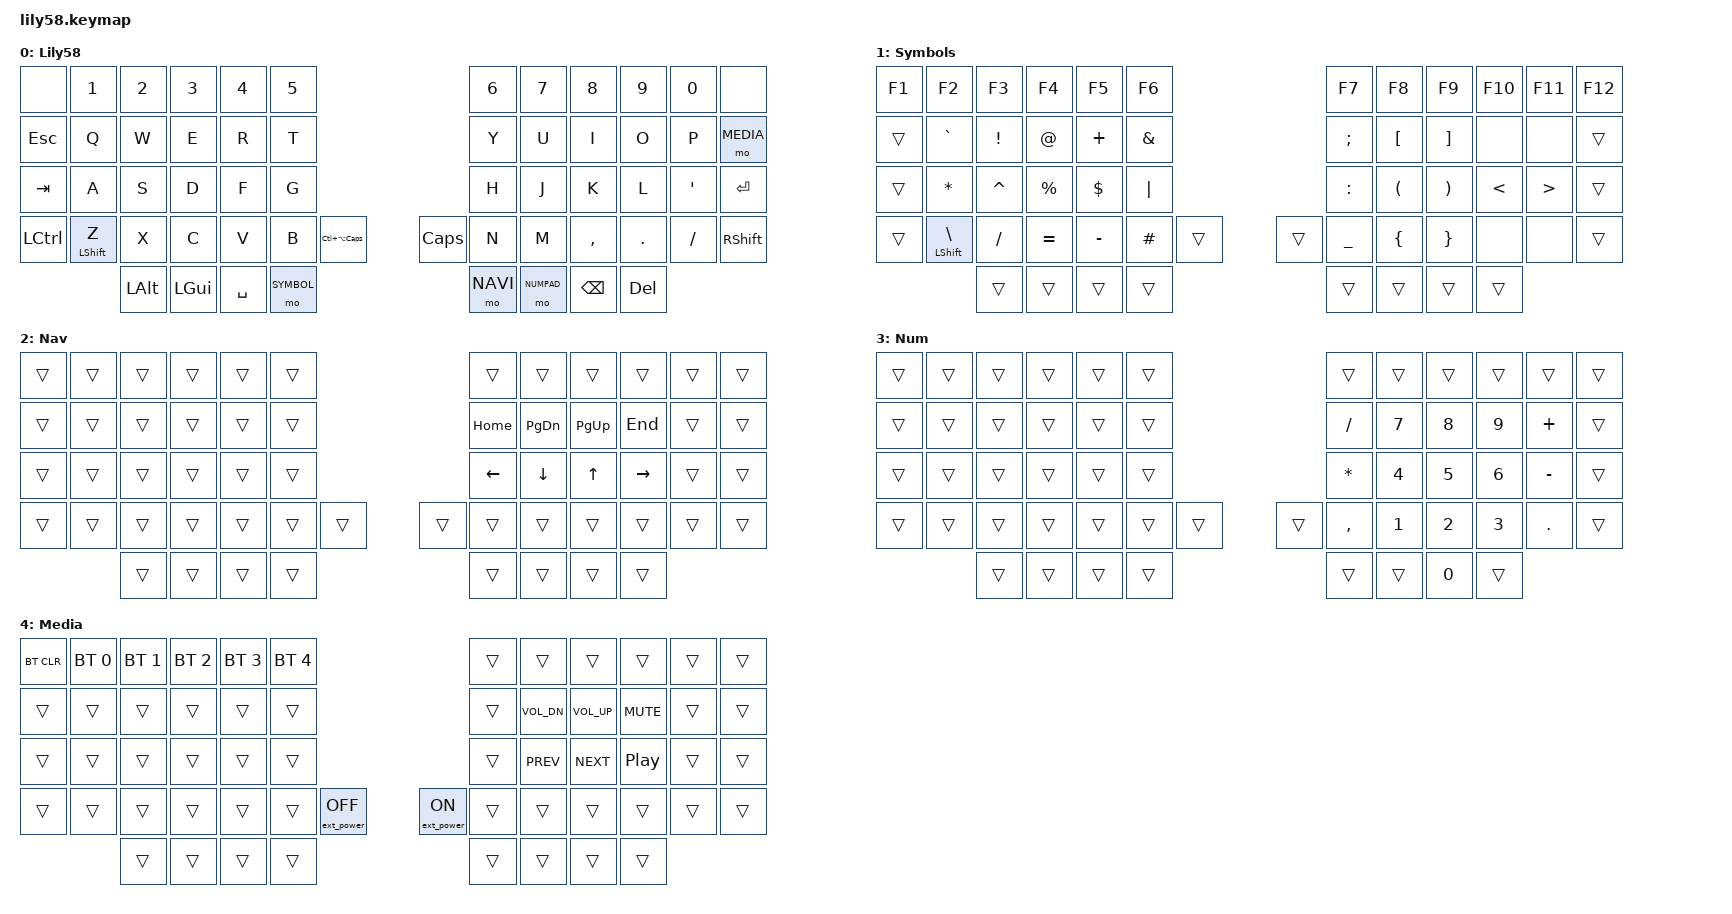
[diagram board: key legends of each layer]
/*
 * Copyright (c) 2020 The ZMK Contributors
 *
 * SPDX-License-Identifier: MIT
 */

#include <behaviors.dtsi>
#include <dt-bindings/zmk/keys.h>
#include <dt-bindings/zmk/bt.h>
#include <dt-bindings/zmk/ext_power.h>

#define DEFAULT 0
#define NAVI    2
#define SYMBOL  1
#define NUMPAD  3
#define MEDIA   4

/ {
        keymap {
                compatible = "zmk,keymap";

                default_layer {
                        display-name = "Lily58";
                        bindings = <
   &none     &kp N1       &kp N2   &kp N3    &kp N4    &kp N5                                      &kp N6   &kp N7     &kp N8    &kp N9    &kp N0    &none
   &kp ESC   &kp Q        &kp W    &kp E     &kp R     &kp T                                       &kp Y    &kp U      &kp I     &kp O     &kp P     &mo MEDIA
   &kp TAB   &kp A        &kp S    &kp D     &kp F     &kp G                                       &kp H    &kp J      &kp K     &kp L     &kp SQT   &kp RET
   &kp LCTRL &mt LSHFT Z  &kp X    &kp C     &kp V     &kp B       &kp LC(LA(CAPS))     &kp CAPS   &kp N    &kp M      &kp COMMA &kp DOT   &kp FSLH  &kp RSHFT
                          &kp LALT &kp LGUI  &kp SPACE &mo SYMBOL                                  &mo NAVI &mo NUMPAD &kp BSPC  &kp DEL
                        >;
                };

                symbol_layer {
                        display-name = "Symbols";
                        bindings = <
   &kp F1 &kp F2           &kp F3    &kp F4    &kp F5    &kp F6                        &kp F7    &kp F8    &kp F9    &kp F10  &kp F11  &kp F12
   &trans &kp GRAVE        &kp EXCL  &kp AT    &kp PLUS  &kp AMPS                      &kp SEMI  &kp LBKT  &kp RBKT  &none    &none    &trans
   &trans &kp ASTRK        &kp CARET &kp PRCNT &kp DLLR  &kp PIPE                      &kp COLON &kp LPAR  &kp RPAR  &kp LT   &kp GT   &trans
   &trans &mt LSHFT BSLH   &kp SLASH &kp EQUAL &kp MINUS &kp HASH &trans        &trans &kp UNDER &kp LBRC  &kp RBRC  &none    &none    &trans
                           &trans    &trans    &trans    &trans                        &trans    &trans    &trans    &trans
                        >;
                };

                navigation_layer {
                        display-name = "Nav";
                        bindings = <
   &trans    &trans    &trans    &trans   &trans   &trans                     &trans   &trans    &trans    &trans     &trans &trans
   &trans    &trans    &trans    &trans   &trans   &trans                     &kp HOME &kp PG_DN &kp PG_UP &kp END    &trans &trans
   &trans    &trans    &trans    &trans   &trans   &trans                     &kp LEFT &kp DOWN  &kp UP    &kp RIGHT  &trans &trans
   &trans    &trans    &trans    &trans   &trans   &trans &trans       &trans &trans   &trans    &trans    &trans     &trans &trans
                       &trans    &trans   &trans   &trans                     &trans  &trans  &trans  &trans
                        >;
                };

                numpad_layer {
                        display-name = "Num";
                        bindings = <
   &trans  &trans  &trans  &trans  &trans  &trans                        &trans     &trans  &trans  &trans  &trans    &trans
   &trans  &trans  &trans  &trans  &trans  &trans                        &kp SLASH  &kp N7  &kp N8  &kp N9  &kp PLUS  &trans
   &trans  &trans  &trans  &trans  &trans  &trans                        &kp ASTRK  &kp N4  &kp N5  &kp N6  &kp MINUS &trans
   &trans  &trans  &trans  &trans  &trans  &trans &trans          &trans &kp COMMA  &kp N1  &kp N2  &kp N3  &kp DOT   &trans
                   &trans  &trans  &trans  &trans                        &trans     &trans  &kp N0  &trans
                        >;
                };

                media_layer {
                        display-name = "Media";
                        bindings = <
   &bt BT_CLR  &bt BT_SEL 0 &bt BT_SEL 1 &bt BT_SEL 2 &bt BT_SEL 3 &bt BT_SEL 4                                    &trans   &trans        &trans        &trans           &trans  &trans
   &trans      &trans       &trans       &trans       &trans       &trans                                          &trans   &kp C_VOL_DN  &kp C_VOL_UP  &kp C_MUTE       &trans  &trans
   &trans      &trans       &trans       &trans       &trans       &trans                                          &trans   &kp C_PREV    &kp C_NEXT    &kp C_PLAY_PAUSE &trans  &trans
   &trans      &trans       &trans       &trans       &trans       &trans       &ext_power EP_OFF &ext_power EP_ON &trans   &trans        &trans        &trans           &trans  &trans
                            &trans       &trans       &trans       &trans                                          &trans   &trans        &trans        &trans
                        >;
                };
        };
};
